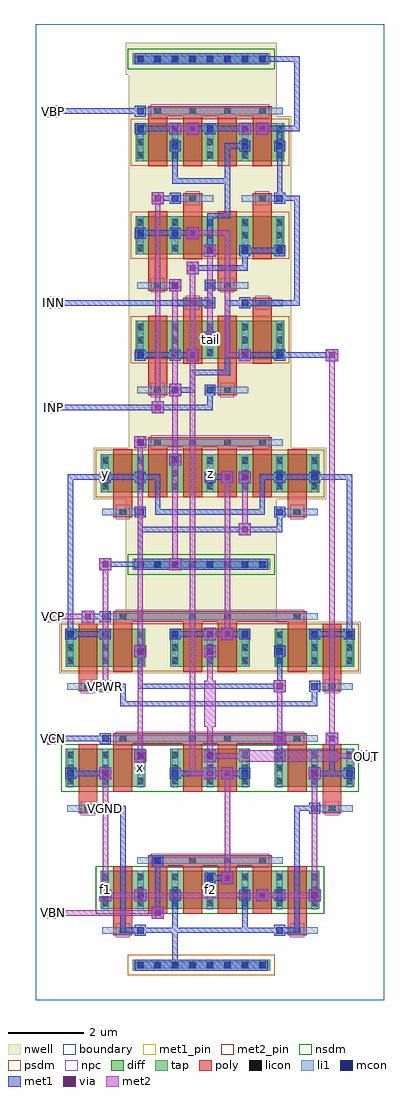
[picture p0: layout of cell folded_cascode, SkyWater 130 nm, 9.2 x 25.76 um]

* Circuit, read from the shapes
.subckt folded_cascode INN INP OUT VBN VBP VCN VCP VGND VPWR f1 f2 tail x y z
XM1 f1 VGND f1 VGND sky130_fd_pr__nfet_01v8 w=1 l=0.5 m=4
XM2 x VCN f1 VGND sky130_fd_pr__nfet_01v8 w=1 l=0.5 m=2
XM3 VGND VBN f1 VGND sky130_fd_pr__nfet_01v8 w=1 l=0.5 m=2
XM4 f2 VBN VGND VGND sky130_fd_pr__nfet_01v8 w=1 l=0.5 m=2
XM5 OUT VCN f2 VGND sky130_fd_pr__nfet_01v8 w=1 l=0.5 m=2
XM6 y VPWR y VPWR sky130_fd_pr__pfet_01v8 w=1 l=0.5 m=4
XM7 x VCP y VPWR sky130_fd_pr__pfet_01v8 w=1 l=0.5 m=2
XM8 VPWR x y VPWR sky130_fd_pr__pfet_01v8 w=1 l=0.5 m=2
XM9 f2 VPWR f2 VPWR sky130_fd_pr__pfet_01v8 w=1 l=0.5 m=2
XM10 f1 VPWR f1 VPWR sky130_fd_pr__pfet_01v8 w=1 l=0.5 m=2
XM11 tail VBP VPWR VPWR sky130_fd_pr__pfet_01v8 w=1 l=0.5 m=4
XM12 OUT VCP z VPWR sky130_fd_pr__pfet_01v8 w=1 l=0.5 m=2
XM13 z x VPWR VPWR sky130_fd_pr__pfet_01v8 w=1 l=0.5 m=2
XM14 tail INN f2 VPWR sky130_fd_pr__pfet_01v8 w=1 l=0.5 m=2
XM15 tail INP f1 VPWR sky130_fd_pr__pfet_01v8 w=1 l=0.5 m=2
.ends

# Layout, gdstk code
import gdstk
lib = gdstk.Library(unit=1e-6, precision=1e-09)
def R(c, l, rs):  # rectangles x0, y0, x1, y1
    for r in rs: c.add(gdstk.rectangle(r[:2], r[2:], *l))
def A(c, l, x, y, w, h, nx, ny, dx, dy):  # array of equal rectangles
    R(c, l, [(x+i*dx, y+j*dy, x+i*dx+w, y+j*dy+h) for i in range(nx) for j in range(ny)])
nwell = (64, 20)
diff = (65, 20)
tap = (65, 44)
poly = (66, 20)
licon = (66, 44)
li1 = (67, 20)
mcon = (67, 44)
met1_pin = (68, 16)
met1 = (68, 20)
via = (68, 44)
met2_pin = (69, 16)
met2 = (69, 20)
nsdm = (93, 44)
psdm = (94, 20)
npc = (95, 20)
boundary = (235, 4)

folded_cascode = lib.new_cell('folded_cascode')
R(folded_cascode, nwell, [(0.615,8.62,8.585,9.98), (2.375,9.98,6.365,13.22), (1.535,13.22,7.665,14.58), (2.455,14.58,6.745,23.32), (2.455,23.32,6.365,24.42), (2.375,24.42,6.365,25.26)])
A(folded_cascode, diff, 0.795, 5.625, 2.09, 1, 3, 2, 2.76, 3.175)
R(folded_cascode, diff, [(1.715,2.405,7.485,3.405), (1.715,13.4,7.485,14.4), (2.635,16.925,6.565,17.925), (2.635,19.685,6.565,20.685), (2.635,22.14,6.565,23.14)])
R(folded_cascode, tap, [(2.555,0.775,6.185,1.065), (2.555,11.355,6.185,11.645), (2.555,24.695,6.185,24.985)])
A(folded_cascode, poly, 2.97, 2.275, 0.5, 1.405, 4, 1, 0.92, 0)
A(folded_cascode, poly, 2.97, 13.27, 0.5, 1.45, 4, 2, 0.92, 8.74)
R(folded_cascode, poly, [(2.05,1.705,2.55,1.975), (6.65,1.705,7.15,1.975), (2.05,1.84,2.55,3.535), (6.65,1.84,7.15,3.535), (2.97,3.545,6.23,3.815), (1.13,4.925,1.63,5.195), (7.57,4.925,8.07,5.195), (1.13,5.06,1.63,6.755), (7.57,5.06,8.07,6.755), (2.05,5.495,2.55,6.9), (3.89,5.495,4.39,6.9), (4.81,5.495,5.31,6.9), (6.65,5.495,7.15,6.9), (2.05,6.765,7.15,7.035), (1.13,8.145,1.63,8.415), (7.57,8.145,8.07,8.415), (1.13,8.28,1.63,9.93), (7.57,8.28,8.07,9.93), (2.05,8.67,2.55,10.12), (3.89,8.67,4.39,10.12), (4.81,8.67,5.31,10.12), (6.65,8.67,7.15,10.12), (2.05,9.985,7.15,10.255), (2.05,12.745,2.55,13.015), (6.65,12.745,7.15,13.015), (2.05,12.88,2.55,14.53), (6.65,12.88,7.15,14.53), (2.97,14.585,6.23,14.855), (2.97,15.965,3.47,16.235), (4.81,15.965,5.31,16.235), (2.97,16.1,3.47,18.055), (4.81,16.1,5.31,18.055), (3.89,16.795,4.39,18.4), (5.73,16.795,6.23,18.4), (3.89,18.265,4.39,18.535), (5.73,18.265,6.23,18.535), (2.97,18.725,3.47,18.995), (4.81,18.725,5.31,18.995), (2.97,18.86,3.47,20.815), (4.81,18.86,5.31,20.815), (3.89,19.555,4.39,21.16), (5.73,19.555,6.23,21.16), (3.89,21.025,4.39,21.295), (5.73,21.025,6.23,21.295), (2.97,23.325,6.23,23.595)])
A(folded_cascode, licon, 2.675, 0.835, 0.17, 0.17, 8, 2, 0.46, 10.58)
A(folded_cascode, licon, 1.755, 2.48, 0.17, 0.17, 7, 3, 0.92, 0.34)
A(folded_cascode, licon, 3.135, 3.595, 0.17, 0.17, 4, 2, 0.92, 11.04)
A(folded_cascode, licon, 0.835, 5.7, 0.17, 0.17, 9, 3, 0.92, 0.34)
A(folded_cascode, licon, 0.835, 8.875, 0.17, 0.17, 9, 3, 0.92, 0.34)
A(folded_cascode, licon, 1.755, 13.475, 0.17, 0.17, 7, 3, 0.92, 0.34)
A(folded_cascode, licon, 2.675, 17, 0.17, 0.17, 5, 3, 0.92, 0.34)
A(folded_cascode, licon, 2.675, 19.76, 0.17, 0.17, 5, 3, 0.92, 0.34)
A(folded_cascode, licon, 2.675, 22.215, 0.17, 0.17, 5, 3, 0.92, 0.34)
A(folded_cascode, licon, 3.135, 23.375, 0.17, 0.17, 4, 1, 0.92, 0)
A(folded_cascode, licon, 2.675, 24.755, 0.17, 0.17, 8, 1, 0.46, 0)
R(folded_cascode, licon, [(2.215,1.755,2.385,1.925), (6.815,1.755,6.985,1.925), (1.295,4.975,1.465,5.145), (7.735,4.975,7.905,5.145), (2.215,6.815,2.385,6.985), (4.055,6.815,4.225,6.985), (4.975,6.815,5.145,6.985), (6.815,6.815,6.985,6.985), (1.295,8.195,1.465,8.365), (7.735,8.195,7.905,8.365), (2.215,10.035,2.385,10.205), (4.055,10.035,4.225,10.205), (4.975,10.035,5.145,10.205), (6.815,10.035,6.985,10.205), (2.215,12.795,2.385,12.965), (6.815,12.795,6.985,12.965), (3.135,16.015,3.305,16.185), (4.975,16.015,5.145,16.185), (4.055,18.315,4.225,18.485), (5.895,18.315,6.065,18.485), (3.135,18.775,3.305,18.945), (4.975,18.775,5.145,18.945), (4.055,21.075,4.225,21.245), (5.895,21.075,6.065,21.245)])
A(folded_cascode, li1, 1.755, 2.4, 0.17, 1.01, 7, 2, 0.92, 10.995)
A(folded_cascode, li1, 0.835, 5.62, 0.17, 1.01, 9, 2, 0.92, 3.175)
A(folded_cascode, li1, 2.675, 16.92, 0.17, 1.01, 5, 2, 0.92, 2.76)
A(folded_cascode, li1, 2.675, 22.135, 0.17, 1.01, 5, 1, 0.92, 0)
R(folded_cascode, li1, [(2.595,0.835,6.145,1.005), (1.755,1.755,2.845,1.925), (6.355,1.755,7.445,1.925), (2.675,3.595,6.525,3.765), (0.835,4.975,1.925,5.145), (7.275,4.975,8.365,5.145), (1.755,6.815,7.445,6.985), (0.835,8.195,1.925,8.365), (7.275,8.195,8.365,8.365), (1.755,10.035,7.445,10.205), (2.595,11.415,6.145,11.585), (1.755,12.795,2.845,12.965), (6.355,12.795,7.445,12.965), (2.675,14.635,6.525,14.805), (2.675,16.015,3.765,16.185), (4.515,16.015,5.605,16.185), (3.595,18.315,4.685,18.485), (5.435,18.315,6.525,18.485), (2.675,18.775,3.765,18.945), (4.515,18.775,5.605,18.945), (3.595,21.075,4.685,21.245), (5.435,21.075,6.525,21.245), (2.675,23.375,6.525,23.545), (2.595,24.755,6.145,24.925)])
A(folded_cascode, mcon, 2.675, 0.835, 0.17, 0.17, 8, 2, 0.46, 10.58)
A(folded_cascode, mcon, 1.755, 2.675, 0.17, 0.17, 3, 1, 0.92, 0)
A(folded_cascode, mcon, 5.435, 2.675, 0.17, 0.17, 3, 1, 0.92, 0)
A(folded_cascode, mcon, 1.755, 5.895, 0.17, 0.17, 4, 2, 1.84, 3.68)
A(folded_cascode, mcon, 2.675, 6.355, 0.17, 0.17, 3, 2, 1.84, 2.76)
A(folded_cascode, mcon, 2.675, 12.795, 0.17, 0.17, 1, 3, 0, 0.92)
A(folded_cascode, mcon, 6.355, 12.795, 0.17, 0.17, 1, 3, 0, 4.14)
A(folded_cascode, mcon, 4.515, 13.715, 0.17, 0.17, 4, 1, 0.92, 0)
A(folded_cascode, mcon, 4.515, 19.695, 0.17, 0.17, 3, 1, 0.92, 0)
A(folded_cascode, mcon, 2.675, 24.755, 0.17, 0.17, 8, 1, 0.46, 0)
R(folded_cascode, mcon, [(2.675,1.755,2.845,1.925), (6.355,1.755,6.525,1.925), (4.515,3.135,4.685,3.305), (3.135,3.595,3.305,3.765), (1.755,4.975,1.925,5.145), (7.275,4.975,7.445,5.145), (0.835,5.895,1.005,6.065), (8.195,5.895,8.365,6.065), (1.755,6.815,1.925,6.985), (1.755,8.195,1.925,8.365), (7.275,8.195,7.445,8.365), (0.835,9.575,1.005,9.745), (8.195,9.575,8.365,9.745), (1.755,10.035,1.925,10.205), (1.755,13.715,1.925,13.885), (3.595,14.175,3.765,14.345), (3.595,16.015,3.765,16.185), (4.515,16.015,4.685,16.185), (2.675,16.935,2.845,17.105), (3.595,16.935,3.765,17.105), (5.435,16.935,5.605,17.105), (4.515,17.395,4.685,17.565), (4.515,18.315,4.685,18.485), (5.435,18.315,5.605,18.485), (3.595,18.775,3.765,18.945), (4.515,18.775,4.685,18.945), (2.675,20.155,2.845,20.325), (3.595,20.155,3.765,20.325), (3.595,21.075,3.765,21.245), (3.595,22.455,3.765,22.625), (5.435,22.455,5.605,22.625), (6.355,22.455,6.525,22.625), (2.675,22.915,2.845,23.085), (4.515,22.915,4.685,23.085), (2.675,23.375,2.845,23.545)])
R(folded_cascode, met1_pin, [(1.695,4.915,1.985,5.205), (1.695,8.135,1.985,8.425)])
A(folded_cascode, met1, 1.695, 2.615, 0.29, 0.29, 3, 1, 0.92, 0)
A(folded_cascode, met1, 5.375, 2.615, 0.29, 0.29, 3, 1, 0.92, 0)
A(folded_cascode, met1, 1.695, 5.835, 0.29, 0.29, 4, 2, 1.84, 3.68)
A(folded_cascode, met1, 2.615, 6.295, 0.29, 0.29, 3, 2, 1.84, 2.76)
A(folded_cascode, met1, 2.615, 12.735, 0.29, 0.29, 1, 3, 0, 0.92)
A(folded_cascode, met1, 6.295, 12.735, 0.29, 0.29, 1, 3, 0, 4.14)
A(folded_cascode, met1, 4.455, 13.655, 0.29, 0.29, 4, 1, 0.92, 0)
A(folded_cascode, met1, 4.455, 19.635, 0.29, 0.29, 3, 1, 0.92, 0)
R(folded_cascode, met1, [(2.615,0.775,6.125,1.065), (3.61,0.85,3.75,2.83), (3.61,0.85,3.75,0.99), (2.615,1.695,2.905,1.985), (6.295,1.695,6.585,1.985), (2.23,1.77,2.83,1.91), (2.23,1.77,2.37,5.13), (2.69,1.77,3.75,1.91), (3.61,1.77,6.51,1.91), (5.45,1.77,5.59,2.83), (6.37,1.77,6.97,1.91), (6.83,1.77,6.97,5.13), (3.06,2.14,3.38,2.46), (3.15,2.23,3.29,3.75), (1.68,2.6,2,2.92), (2.6,2.6,2.92,2.92), (5.82,2.6,6.14,2.92), (7.2,2.6,7.52,2.92), (5.91,2.69,6.51,2.83), (4.9,3.06,5.22,3.38), (4.455,3.075,4.745,3.365), (4.53,3.15,5.13,3.29), (3.075,3.535,3.365,3.825), (1.695,4.915,1.985,5.205), (7.215,4.915,7.505,5.205), (1.77,4.99,2.37,5.13), (6.83,4.99,7.43,5.13), (1.68,5.82,2,6.14), (4.44,5.82,4.76,6.14), (4.9,5.82,5.22,6.14), (7.2,5.82,7.52,6.14), (0.775,5.835,1.065,6.125), (8.135,5.835,8.425,6.125), (0.85,5.91,1.91,6.05), (3.61,5.91,4.67,6.05), (4.99,5.91,5.59,6.05), (7.29,5.91,8.35,6.05), (7.75,5.91,7.89,6.97), (2.6,6.28,2.92,6.6), (4.44,6.28,4.76,6.6), (6.37,6.37,6.51,6.97), (0.3,6.74,0.62,7.06), (6.28,6.74,6.6,7.06), (7.66,6.74,7.98,7.06), (1.695,6.755,1.985,7.045), (0.39,6.83,1.91,6.97), (2.23,7.75,2.37,8.35), (2.23,7.75,7.43,7.89), (7.29,7.75,7.43,8.35), (1.68,8.12,2,8.44), (6.28,8.12,6.6,8.44), (1.695,8.135,1.985,8.425), (7.215,8.135,7.505,8.425), (1.77,8.21,2.37,8.35), (2.69,8.21,6.51,8.35), (2.69,8.21,2.83,9.27), (6.37,8.21,6.51,9.27), (2.6,9.04,2.92,9.36), (4.44,9.04,4.76,9.36), (4.44,9.5,4.76,9.82), (4.9,9.5,5.22,9.82), (0.775,9.515,1.065,9.805), (8.135,9.515,8.425,9.805), (0.85,9.59,1.91,9.73), (0.85,9.59,0.99,13.87), (3.61,9.59,4.67,9.73), (4.99,9.59,5.59,9.73), (7.29,9.59,8.35,9.73), (8.21,9.59,8.35,13.87), (1.22,9.96,1.54,10.28), (1.695,9.975,1.985,10.265), (1.31,10.05,1.91,10.19), (1.68,11.34,2,11.66), (3.52,11.34,3.84,11.66), (2.615,11.355,6.125,11.645), (1.77,11.43,2.83,11.57), (2.69,11.43,3.75,11.57), (2.69,11.43,2.83,12.95), (3.61,11.43,3.75,11.57), (5.36,12.26,5.68,12.58), (2.69,12.35,6.51,12.49), (6.37,12.35,6.51,12.95), (3.15,12.81,6.05,12.95), (3.15,12.81,3.29,13.87), (5.91,12.81,6.05,13.87), (4.9,13.64,5.22,13.96), (5.36,13.64,5.68,13.96), (1.695,13.655,1.985,13.945), (0.85,13.73,1.91,13.87), (1.77,13.73,2.83,13.87), (2.69,13.73,3.29,13.87), (4.53,13.73,5.13,13.87), (5.91,13.73,6.51,13.87), (6.37,13.73,7.43,13.87), (7.29,13.73,8.35,13.87), (3.52,14.1,3.84,14.42), (3.535,14.115,3.825,14.405), (2.6,14.56,2.92,14.88), (0.3,15.48,0.62,15.8), (3.06,15.48,3.38,15.8), (0.39,15.57,4.67,15.71), (4.53,15.57,4.67,16.17), (3.52,15.94,3.84,16.26), (3.535,15.955,3.825,16.245), (4.455,15.955,4.745,16.245), (3.61,16.03,4.21,16.17), (4.07,16.03,4.21,16.63), (4.07,16.49,5.13,16.63), (4.99,16.49,5.13,18.47), (3.98,16.86,4.3,17.18), (5.36,16.86,5.68,17.18), (7.66,16.86,7.98,17.18), (2.615,16.875,2.905,17.165), (3.535,16.875,3.825,17.165), (5.375,16.875,5.665,17.165), (2.69,16.95,3.75,17.09), (3.61,16.95,4.21,17.09), (5.45,16.95,6.51,17.09), (6.37,16.95,7.89,17.09), (4.44,17.32,4.76,17.64), (4.455,17.335,4.745,17.625), (0.3,18.24,0.62,18.56), (4.455,18.255,4.745,18.545), (5.375,18.255,5.665,18.545), (0.39,18.33,4.67,18.47), (4.53,18.33,4.67,18.93), (4.99,18.33,5.59,18.47), (5.45,18.33,6.97,18.47), (6.83,18.33,6.97,21.23), (3.52,18.7,3.84,19.02), (3.535,18.715,3.825,19.005), (4.455,18.715,4.745,19.005), (3.98,19.16,4.3,19.48), (4.07,19.25,5.59,19.39), (5.45,19.25,5.59,19.85), (4.44,19.62,4.76,19.94), (4.53,19.71,4.67,20.77), (5.45,19.71,6.51,19.85), (3.98,20.08,4.3,20.4), (2.615,20.095,2.905,20.385), (3.535,20.095,3.825,20.385), (2.69,20.17,3.75,20.31), (3.61,20.17,4.21,20.31), (4.53,20.63,5.13,20.77), (4.99,20.63,5.13,22.61), (3.06,21,3.38,21.32), (3.535,21.015,3.825,21.305), (3.15,21.09,3.75,21.23), (6.37,21.09,6.51,22.61), (6.37,21.09,6.97,21.23), (3.61,21.55,5.13,21.69), (3.61,21.55,3.75,22.61), (3.535,22.395,3.825,22.685), (5.375,22.395,5.665,22.685), (6.295,22.395,6.585,22.685), (4.99,22.47,5.59,22.61), (6.37,22.47,6.51,23.07), (3.52,22.84,3.84,23.16), (3.98,22.84,4.3,23.16), (5.36,22.84,5.68,23.16), (5.82,22.84,6.14,23.16), (2.615,22.855,2.905,23.145), (4.455,22.855,4.745,23.145), (2.69,22.93,3.75,23.07), (4.07,22.93,4.67,23.07), (4.53,22.93,5.59,23.07), (5.91,22.93,6.51,23.07), (6.37,22.93,6.97,23.07), (6.83,22.93,6.97,24.91), (0.3,23.3,0.62,23.62), (2.615,23.315,2.905,23.605), (0.39,23.39,2.83,23.53), (2.615,24.695,6.125,24.985), (5.91,24.77,6.97,24.91), (5.91,24.77,6.05,24.91)])
R(folded_cascode, via, [(3.145,2.225,3.295,2.375), (1.765,2.685,1.915,2.835), (2.685,2.685,2.835,2.835), (5.905,2.685,6.055,2.835), (7.285,2.685,7.435,2.835), (4.985,3.145,5.135,3.295), (1.765,5.905,1.915,6.055), (4.525,5.905,4.675,6.055), (4.985,5.905,5.135,6.055), (7.285,5.905,7.435,6.055), (2.685,6.365,2.835,6.515), (4.525,6.365,4.675,6.515), (0.385,6.825,0.535,6.975), (6.365,6.825,6.515,6.975), (7.745,6.825,7.895,6.975), (1.765,8.205,1.915,8.355), (6.365,8.205,6.515,8.355), (2.685,9.125,2.835,9.275), (4.525,9.125,4.675,9.275), (4.525,9.585,4.675,9.735), (4.985,9.585,5.135,9.735), (1.305,10.045,1.455,10.195), (1.765,11.425,1.915,11.575), (3.605,11.425,3.755,11.575), (5.445,12.345,5.595,12.495), (4.985,13.725,5.135,13.875), (5.445,13.725,5.595,13.875), (3.605,14.185,3.755,14.335), (2.685,14.645,2.835,14.795), (0.385,15.565,0.535,15.715), (3.145,15.565,3.295,15.715), (3.605,16.025,3.755,16.175), (4.065,16.945,4.215,17.095), (5.445,16.945,5.595,17.095), (7.745,16.945,7.895,17.095), (4.525,17.405,4.675,17.555), (0.385,18.325,0.535,18.475), (3.605,18.785,3.755,18.935), (4.065,19.245,4.215,19.395), (4.525,19.705,4.675,19.855), (4.065,20.165,4.215,20.315), (3.145,21.085,3.295,21.235), (3.605,22.925,3.755,23.075), (4.065,22.925,4.215,23.075), (5.445,22.925,5.595,23.075), (5.905,22.925,6.055,23.075), (0.385,23.385,0.535,23.535)])
R(folded_cascode, met2_pin, [(0.31,2.15,0.61,2.45), (8.59,6.29,8.89,6.59), (0.31,6.75,0.61,7.05), (0.31,9.97,0.61,10.27), (0.31,15.49,0.61,15.79), (0.31,18.25,0.61,18.55), (0.31,23.31,0.61,23.61)])
R(folded_cascode, met2, [(3.06,2.14,3.38,2.46), (0.31,2.15,0.61,2.45), (0.39,2.23,0.53,2.37), (0.39,2.23,3.29,2.37), (1.68,2.6,2,2.92), (2.6,2.6,2.92,2.92), (5.82,2.6,6.14,2.92), (7.2,2.6,7.52,2.92), (1.77,2.69,2.83,2.83), (1.77,2.69,1.91,6.05), (2.69,2.69,6.05,2.83), (5.91,2.69,7.43,2.83), (7.29,2.69,7.43,6.05), (4.9,3.06,5.22,3.38), (4.99,3.15,5.13,6.05), (1.68,5.82,2,6.14), (4.44,5.82,4.76,6.14), (4.9,5.82,5.22,6.14), (7.2,5.82,7.52,6.14), (4.07,5.91,4.67,6.05), (4.07,5.91,4.21,17.09), (4.53,5.91,5.13,6.05), (2.6,6.28,2.92,6.6), (4.44,6.28,4.76,6.6), (5.37,6.29,7.97,6.59), (8.59,6.29,8.89,6.59), (2.69,6.37,2.83,9.27), (4.53,6.37,4.67,7.43), (4.53,6.37,5.59,6.51), (7.75,6.37,8.81,6.51), (8.67,6.37,8.81,6.51), (0.3,6.74,0.62,7.06), (6.28,6.74,6.6,7.06), (7.66,6.74,7.98,7.06), (0.31,6.75,0.61,7.05), (0.39,6.83,0.53,6.97), (6.37,6.83,6.51,8.35), (7.75,6.83,7.89,17.09), (4.45,7.21,4.75,8.43), (1.68,8.12,2,8.44), (6.28,8.12,6.6,8.44), (1.77,8.21,1.91,11.57), (4.53,8.21,4.67,9.27), (2.6,9.04,2.92,9.36), (4.44,9.04,4.76,9.36), (2.69,9.13,2.83,14.79), (4.44,9.5,4.76,9.82), (4.9,9.5,5.22,9.82), (4.53,9.59,5.13,9.73), (4.99,9.59,5.13,13.87), (1.22,9.96,1.54,10.28), (0.31,9.97,0.61,10.27), (0.39,10.05,0.53,10.19), (0.39,10.05,1.45,10.19), (1.68,11.34,2,11.66), (3.52,11.34,3.84,11.66), (3.61,11.43,3.75,14.33), (5.36,12.26,5.68,12.58), (5.45,12.35,5.59,13.87), (4.9,13.64,5.22,13.96), (5.36,13.64,5.68,13.96), (3.52,14.1,3.84,14.42), (3.61,14.19,3.75,16.17), (2.6,14.56,2.92,14.88), (0.3,15.48,0.62,15.8), (3.06,15.48,3.38,15.8), (0.31,15.49,0.61,15.79), (0.39,15.57,0.53,15.71), (3.15,15.57,3.29,21.23), (3.52,15.94,3.84,16.26), (3.61,16.03,3.75,18.93), (3.98,16.86,4.3,17.18), (5.36,16.86,5.68,17.18), (7.66,16.86,7.98,17.18), (4.07,16.95,4.21,19.39), (4.99,16.95,5.59,17.09), (4.99,16.95,5.13,20.31), (4.44,17.32,4.76,17.64), (4.53,17.41,4.67,19.85), (0.3,18.24,0.62,18.56), (0.31,18.25,0.61,18.55), (0.39,18.33,0.53,18.47), (3.52,18.7,3.84,19.02), (3.98,19.16,4.3,19.48), (4.44,19.62,4.76,19.94), (3.98,20.08,4.3,20.4), (4.07,20.17,5.13,20.31), (3.06,21,3.38,21.32), (3.52,22.84,3.84,23.16), (3.98,22.84,4.3,23.16), (5.36,22.84,5.68,23.16), (5.82,22.84,6.14,23.16), (3.61,22.93,4.21,23.07), (5.45,22.93,6.05,23.07), (0.3,23.3,0.62,23.62), (0.31,23.31,0.61,23.61), (0.39,23.39,0.53,23.53)])
R(folded_cascode, nsdm, [(1.59,2.28,7.61,3.53), (0.67,5.5,8.53,6.75), (2.43,11.23,6.31,11.77), (2.43,24.57,6.31,25.11)])
R(folded_cascode, psdm, [(2.43,0.65,6.31,1.19), (0.67,8.675,8.53,9.925), (1.59,13.275,7.61,14.525), (2.51,16.8,6.69,18.05), (2.51,19.56,6.69,20.81), (2.51,22.015,6.69,23.265)])
R(folded_cascode, npc, [(2.115,1.655,2.485,2.025), (6.715,1.655,7.085,2.025), (3.035,3.495,6.165,3.865), (1.195,4.875,1.565,5.245), (7.635,4.875,8.005,5.245), (2.115,6.715,7.085,7.085), (1.195,8.095,1.565,8.465), (7.635,8.095,8.005,8.465), (2.115,9.935,7.085,10.305), (2.115,12.695,2.485,13.065), (6.715,12.695,7.085,13.065), (3.035,14.535,6.165,14.905), (3.035,15.915,3.405,16.285), (4.875,15.915,5.245,16.285), (3.955,18.215,4.325,18.585), (5.795,18.215,6.165,18.585), (3.035,18.675,3.405,19.045), (4.875,18.675,5.245,19.045), (3.955,20.975,4.325,21.345), (5.795,20.975,6.165,21.345), (3.035,23.275,6.165,23.645)])
R(folded_cascode, boundary, [(0,0,9.2,25.76)])
folded_cascode.add(gdstk.Label('f1', (1.84,2.905), layer=67, texttype=5))
folded_cascode.add(gdstk.Label('f2', (4.6,2.905), layer=67, texttype=5))
folded_cascode.add(gdstk.Label('x', (2.76,6.125), layer=67, texttype=5))
folded_cascode.add(gdstk.Label('y', (1.84,13.9), layer=67, texttype=5))
folded_cascode.add(gdstk.Label('z', (4.6,13.9), layer=67, texttype=5))
folded_cascode.add(gdstk.Label('tail', (4.6,17.425), layer=67, texttype=5))
folded_cascode.add(gdstk.Label('VPWR', (1.84,8.28), layer=68, texttype=5))
folded_cascode.add(gdstk.Label('VGND', (1.84,5.06), layer=68, texttype=5))
folded_cascode.add(gdstk.Label('INP', (0.46,15.64), layer=69, texttype=5))
folded_cascode.add(gdstk.Label('INN', (0.46,18.4), layer=69, texttype=5))
folded_cascode.add(gdstk.Label('VBP', (0.46,23.46), layer=69, texttype=5))
folded_cascode.add(gdstk.Label('VBN', (0.46,2.3), layer=69, texttype=5))
folded_cascode.add(gdstk.Label('VCN', (0.46,6.9), layer=69, texttype=5))
folded_cascode.add(gdstk.Label('VCP', (0.46,10.12), layer=69, texttype=5))
folded_cascode.add(gdstk.Label('OUT', (8.74,6.44), layer=69, texttype=5))
folded_cascode.add(gdstk.Label('VPWR', (1.84,8.28), layer=68, texttype=16))
folded_cascode.add(gdstk.Label('VGND', (1.84,5.06), layer=68, texttype=16))
folded_cascode.add(gdstk.Label('INP', (0.46,15.64), layer=69, texttype=16))
folded_cascode.add(gdstk.Label('INN', (0.46,18.4), layer=69, texttype=16))
folded_cascode.add(gdstk.Label('VBP', (0.46,23.46), layer=69, texttype=16))
folded_cascode.add(gdstk.Label('VBN', (0.46,2.3), layer=69, texttype=16))
folded_cascode.add(gdstk.Label('VCN', (0.46,6.9), layer=69, texttype=16))
folded_cascode.add(gdstk.Label('VCP', (0.46,10.12), layer=69, texttype=16))
folded_cascode.add(gdstk.Label('OUT', (8.74,6.44), layer=69, texttype=16))

lib.write_gds('folded_cascode.gds')
